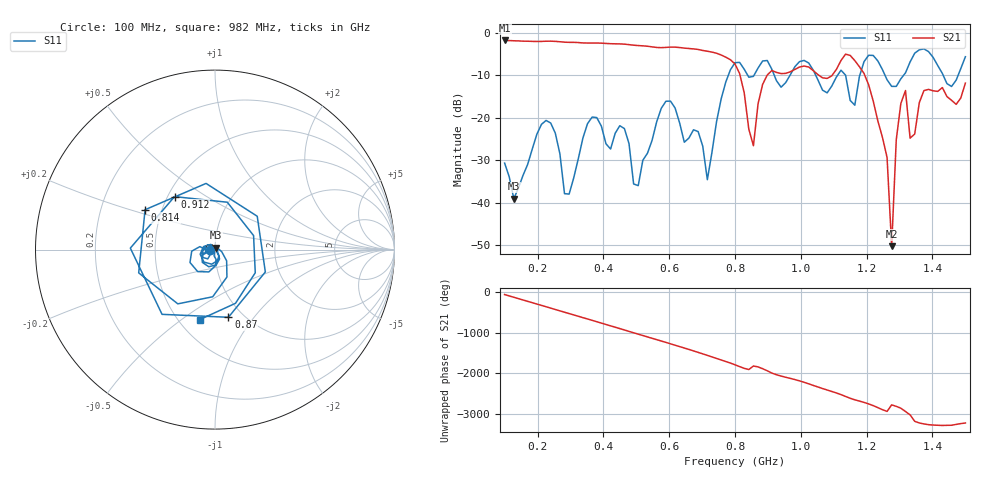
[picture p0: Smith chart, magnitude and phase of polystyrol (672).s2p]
! NanoVNA-App
! Date: 2025-09-25 15:35:07
! Start: 100MHz Stop: 1,5GHz Points: 101
! S-Parameter data: F S11 S21 S12 S22
# Hz S RI R 50
!  Frequency  S11_Real  S11_Imag  S21_Real  S21_Imag  S12_Real  S12_Imag  S22_Real  S22_Imag
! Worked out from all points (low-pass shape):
!   101 points, 100 MHz to 1.5 GHz, reference 50 ohm
!   highest |S21| = -1.80 dB at 100 MHz (marker M1); lowest = -50.3 dB at 1.276 GHz (marker M2)
!   |S21| within 3 dB of the highest: start of sweep to 743.1 MHz
!   lowest |S11| = -39.1 dB at 128 MHz (marker M3), VSWR 1.02, Z = 50.3 + j1.06 ohm
!   |S11| at or under -10 dB: start of sweep to 779.8 MHz; 1.045 GHz to 1.112 GHz (66.53 MHz wide, 6.17 % of centre); 1.256 GHz to 1.312 GHz (56.56 MHz wide, 4.41 % of centre) (the widest 3 of 7)
!   S12 and S22 are empty: the file has one direction only
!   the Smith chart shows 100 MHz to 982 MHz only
!   S11 on the Smith chart (normalised r, x): 100 MHz: 0.94, -0.01; 814 MHz: 0.40, +0.22; 870 MHz: 0.85, -0.76; 912 MHz: 0.54, +0.37; 982 MHz: 0.63, -0.59
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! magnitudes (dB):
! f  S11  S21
! 100 MHz  -30.7  -1.8
! 128 MHz  -39.1  -1.9
! 212 MHz  -21.6  -2.0
! 282 MHz  -37.9  -2.2
! 338 MHz  -24.8  -2.4
! 506 MHz  -36.0  -3.0
! 576 MHz  -17.8  -3.5
! 716 MHz  -34.6  -4.3
! 800 MHz  -7.0  -7.4
! 814 MHz  -7.0  -9.6
! 856 MHz  -10.3  -26.6
! 870 MHz  -8.3  -16.8
! 912 MHz  -8.6  -8.9
! 982 MHz  -8.0  -8.6
! 1.038 GHz  -8.8  -8.9
! 1.192 GHz  -6.8  -9.6
! 1.262 GHz  -11.1  -29.4
! 1.276 GHz  -12.6  -50.3
! 1.29 GHz  -12.6  -25.2
! 1.318 GHz  -9.4  -13.6
! 1.332 GHz  -6.9  -24.8
! 1.5 GHz  -5.6  -11.8
